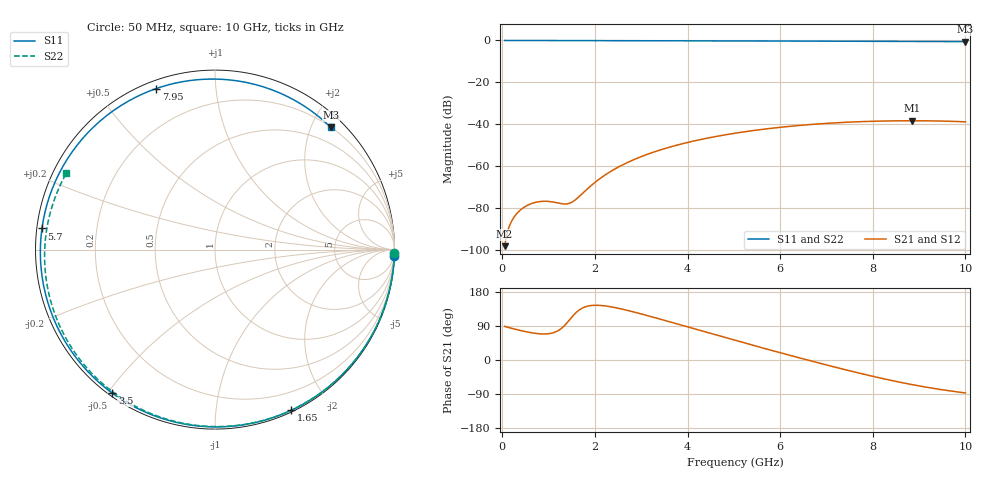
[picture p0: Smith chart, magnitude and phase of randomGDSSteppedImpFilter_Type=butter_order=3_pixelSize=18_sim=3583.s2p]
! freq	dB(S11)	phase(S11)	dB(S12)	phase(S12)
!  dB(S21)	phase(S21)	dB(S22)	phase(S22)
!S-par simulation data
#  GHz  S  DB  R 50
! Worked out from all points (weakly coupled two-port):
!   200 points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, 50 MHz to 10 GHz, reference 50 ohm
!   highest |S21| = -38.29 dB at 8.85 GHz (marker M1); lowest = -98.1 dB at 50 MHz (marker M2)
!   lowest |S11| = -0.6 dB at 10 GHz (marker M3), VSWR 31.16, Z = 10.2 + j116 ohm
!   |S11| at or under -10 dB: nowhere
!   |S22| runs from -0.6 to 0.0 dB; largest |S21 - S12| = 0
!   S11 on the Smith chart (normalised r, x): 50 MHz: 0, -56; 1.65 GHz: 0.02, -1.58; 3.5 GHz: 0.01, -0.51; 5.7 GHz: 0.01, +0.06; 7.95 GHz: 0.03, +0.70; 10 GHz: 0.20, +2.31
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0.05  -0.00 -2.1  -98.09 88.7  -98.09 88.7  -0.00 -1.2
0.45  -0.02 -18.2  -79.84 76.2  -79.84 76.2  -0.01 -10.9
0.65  -0.03 -26.3  -77.62 71.5  -77.62 71.5  -0.02 -15.7
0.85  -0.04 -34.2  -76.73 68.8  -76.73 68.8  -0.03 -20.5
1.4  -0.07 -55.3  -77.92 98.5  -77.92 98.5  -0.04 -33.6
1.65  -0.08 -64.6  -74.65 131.0  -74.65 131.0  -0.05 -39.4
1.75  -0.08 -68.2  -72.58 138.3  -72.58 138.3  -0.05 -41.7
2.1  -0.10 -80.6  -66.00 144.1  -66.00 144.1  -0.06 -49.7
2.45  -0.11 -92.5  -61.05 137.9  -61.05 137.9  -0.07 -57.6
2.9  -0.12 -107.1  -56.28 124.8  -56.28 124.8  -0.09 -67.5
3.4  -0.14 -122.6  -52.29 108.1  -52.29 108.1  -0.10 -78.2
3.5  -0.15 -125.6  -51.60 104.7  -51.60 104.7  -0.11 -80.3
4.3  -0.18 -148.7  -47.15 76.8  -47.15 76.8  -0.13 -96.7
5.05  -0.22 -169.4  -44.15 51.0  -44.15 51.0  -0.17 -111.5
5.7  -0.25 173.0  -42.17 29.2  -42.17 29.2  -0.20 -123.9
6.7  -0.32 145.7  -40.01 -3.5  -40.01 -3.5  -0.27 -142.6
7.35  -0.36 127.5  -39.09 -23.9  -39.09 -23.9  -0.32 -154.7
7.95  -0.40 110.0  -38.57 -41.6  -38.57 -41.6  -0.38 -165.9
8.35  -0.43 98.1  -38.37 -52.6  -38.37 -52.6  -0.42 -173.5
8.85  -0.46 82.7  -38.29 -65.0  -38.29 -65.0  -0.48 176.7
9.4  -0.50 65.5  -38.39 -76.7  -38.39 -76.7  -0.54 165.6
10  -0.56 46.5  -38.81 -86.9  -38.81 -86.9  -0.62 152.8
